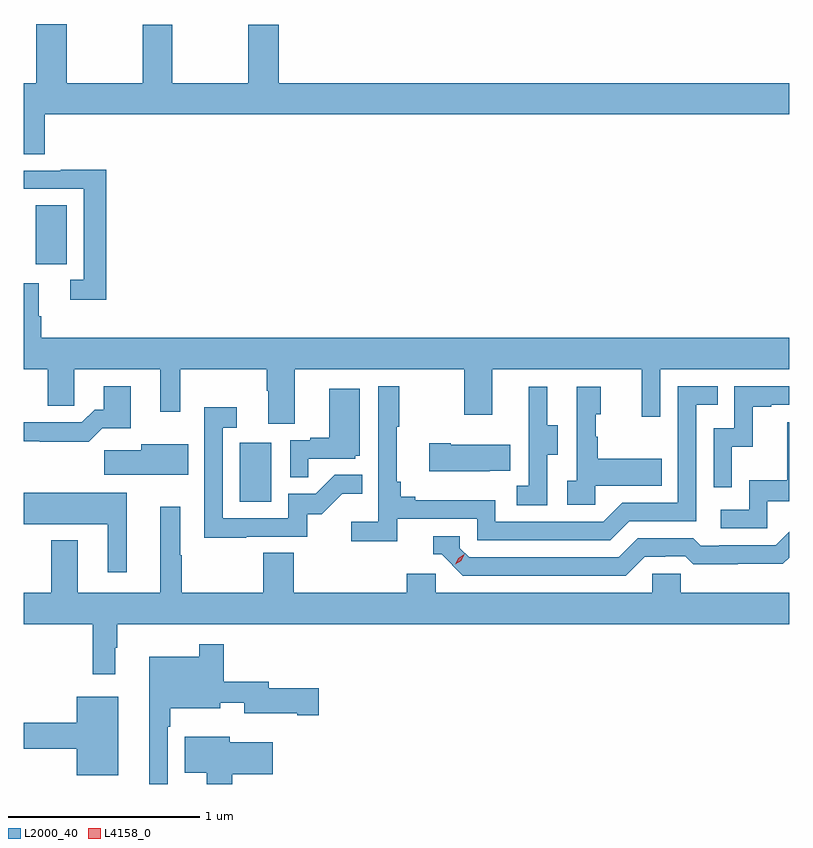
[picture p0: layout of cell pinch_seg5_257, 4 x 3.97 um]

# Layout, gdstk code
import gdstk
lib = gdstk.Library(unit=1e-6, precision=1e-09)
def R(c, l, rs):  # rectangles x0, y0, x1, y1
    for r in rs: c.add(gdstk.rectangle(r[:2], r[2:], *l))
def P(c, l, *ps):  # polygons
    for p in ps: c.add(gdstk.Polygon(p, *l))
L2000_40 = (2000, 40)
L4158_0 = (4158, 0)

pinch_seg5_257 = lib.new_cell('pinch_seg5_257')
R(pinch_seg5_257, L2000_40, [(913.682,901.356,913.846,901.663), (912.614,902.598,912.778,902.905)])
P(pinch_seg5_257, L2000_40, [(912.662,903.38),(916.553,903.38),(916.553,903.544),(913.886,903.544),(913.886,903.848),(913.726,903.848),(913.726,903.544),(913.328,903.544),(913.328,903.848),(913.174,903.848),(913.174,903.544),(912.777,903.544),(912.777,903.853),(912.617,903.853),(912.617,903.544),(912.553,903.544),(912.553,903.172),(912.662,903.172)],
  [(912.983,903.092),(912.745,903.092),(912.745,903.087),(912.553,903.087),(912.553,902.991),(912.867,902.991),(912.867,902.517),(912.795,902.517),(912.795,902.412),(912.983,902.412)],
  [(913.969,902.048),(914.854,902.048),(914.854,901.809),(915.001,901.809),(915.001,902.048),(915.782,902.048),(915.782,901.8),(915.879,901.8),(915.879,902.048),(916.553,902.048),(916.553,902.212),(912.644,902.212),(912.644,902.324),(912.631,902.324),(912.631,902.498),(912.553,902.498),(912.553,902.048),(912.677,902.048),(912.677,901.858),(912.816,901.858),(912.816,902.048),(913.265,902.048),(913.265,901.827),(913.369,901.827),(913.369,902.048),(913.822,902.048),(913.822,901.936),(913.829,901.936),(913.829,901.762),(913.969,901.762)],
  [(912.962,901.739),(913.111,901.739),(913.111,901.96),(912.971,901.96),(912.971,901.837),(912.922,901.837),(912.855,901.77),(912.553,901.77),(912.553,901.672),(912.637,901.672),(912.637,901.67),(912.893,901.67)],
  [(914.504,901.266),(914.922,901.266),(914.922,901.155),(915.619,901.155),(915.718,901.254),(916.068,901.254),(916.068,901.863),(916.181,901.863),(916.181,901.959),(915.972,901.959),(915.972,901.35),(915.681,901.35),(915.582,901.251),(915.018,901.251),(915.018,901.363),(914.599,901.363),(914.599,901.382),(914.522,901.382),(914.522,901.459),(914.503,901.459),(914.503,901.747),(914.515,901.747),(914.515,901.96),(914.406,901.96),(914.406,901.252),(914.265,901.252),(914.265,901.15),(914.504,901.15)],
  [(916.254,901.643),(916.364,901.643),(916.364,901.851),(916.459,901.851),(916.459,901.863),(916.553,901.863),(916.553,901.959),(916.266,901.959),(916.266,901.74),(916.158,901.74),(916.158,901.431),(916.254,901.431)],
  [(915.288,901.6),(915.343,901.6),(915.343,901.755),(915.289,901.755),(915.289,901.957),(915.191,901.957),(915.191,901.743),(915.192,901.743),(915.192,901.439),(915.129,901.439),(915.129,901.336),(915.288,901.336)],
  [(915.54,901.439),(915.887,901.439),(915.887,901.579),(915.553,901.579),(915.553,901.694),(915.543,901.694),(915.543,901.812),(915.568,901.812),(915.568,901.957),(915.444,901.957),(915.444,901.466),(915.393,901.466),(915.393,901.341),(915.54,901.341)],
  [(914.039,901.581),(914.286,901.581),(914.286,901.596),(914.308,901.596),(914.308,901.945),(914.15,901.945),(914.15,901.69),(914.051,901.69),(914.051,901.677),(913.944,901.677),(913.944,901.483),(914.039,901.483)],
  [(913.715,901.173),(914.034,901.173),(914.034,901.29),(914.11,901.29),(914.217,901.397),(914.321,901.397),(914.321,901.496),(914.177,901.496),(914.079,901.398),(913.935,901.398),(913.935,901.269),(913.593,901.269),(913.593,901.743),(913.666,901.743),(913.666,901.849),(913.497,901.849),(913.497,901.168),(913.715,901.168)],
  [(916.44,901.359),(916.553,901.359),(916.553,901.771),(916.543,901.771),(916.543,901.468),(916.344,901.468),(916.344,901.314),(916.197,901.314),(916.197,901.218),(916.44,901.218)],
  [(914.987,901.517),(915.095,901.517),(915.095,901.654),(914.785,901.654),(914.785,901.662),(914.673,901.662),(914.673,901.514),(914.987,901.514)],
  [(913.411,901.657),(913.166,901.657),(913.166,901.625),(912.972,901.625),(912.972,901.496),(913.411,901.496)],
  [(913.09,901.402),(912.553,901.402),(912.553,901.238),(912.992,901.238),(912.992,900.987),(913.09,900.987)],
  [(913.03,900.593),(913.042,900.593),(913.042,900.716),(916.553,900.716),(916.553,900.88),(915.987,900.88),(915.987,900.978),(915.837,900.978),(915.837,900.88),(914.706,900.88),(914.706,900.978),(914.555,900.978),(914.555,900.88),(913.964,900.88),(913.964,901.088),(913.804,901.088),(913.804,900.88),(913.379,900.88),(913.379,901.076),(913.369,901.076),(913.369,901.33),(913.265,901.33),(913.265,900.88),(912.835,900.88),(912.835,901.153),(912.695,901.153),(912.695,900.88),(912.553,900.88),(912.553,900.716),(912.913,900.716),(912.913,900.453),(913.03,900.453)],
  [(915.799,901.068),(915.906,901.068),(915.906,901.071),(916.009,901.071),(916.051,901.029),(916.284,901.029),(916.284,901.031),(916.52,901.031),(916.553,901.064),(916.553,901.199),(916.482,901.128),(916.189,901.128),(916.189,901.125),(916.09,901.125),(916.051,901.164),(915.762,901.164),(915.663,901.065),(914.88,901.065),(914.832,901.113),(914.832,901.176),(914.693,901.176),(914.693,901.08),(914.736,901.08),(914.847,900.969),(915.7,900.969)],
  [(913.305,900.179),(913.318,900.179),(913.318,900.275),(913.579,900.275),(913.579,900.305),(913.706,900.305),(913.706,900.251),(913.982,900.251),(913.982,900.239),(914.095,900.239),(914.095,900.381),(913.834,900.381),(913.834,900.415),(913.598,900.415),(913.598,900.61),(913.47,900.61),(913.47,900.544),(913.208,900.544),(913.208,899.88),(913.305,899.88)],
  [(913.045,900.337),(912.83,900.337),(912.83,900.2),(912.553,900.2),(912.553,900.064),(912.83,900.064),(912.83,899.927),(913.045,899.927)],
  [(913.643,899.932),(913.855,899.932),(913.855,900.097),(913.63,900.097),(913.63,900.127),(913.394,900.127),(913.394,899.939),(913.508,899.939),(913.508,899.88),(913.643,899.88)])
P(pinch_seg5_257, L4158_0, [(914.808,901.028),(914.808,901.028),(914.824,901.061),(914.855,901.08),(914.855,901.08),(914.855,901.08),(914.839,901.047),(914.808,901.028)])

lib.write_gds('pinch_seg5_257.gds')
